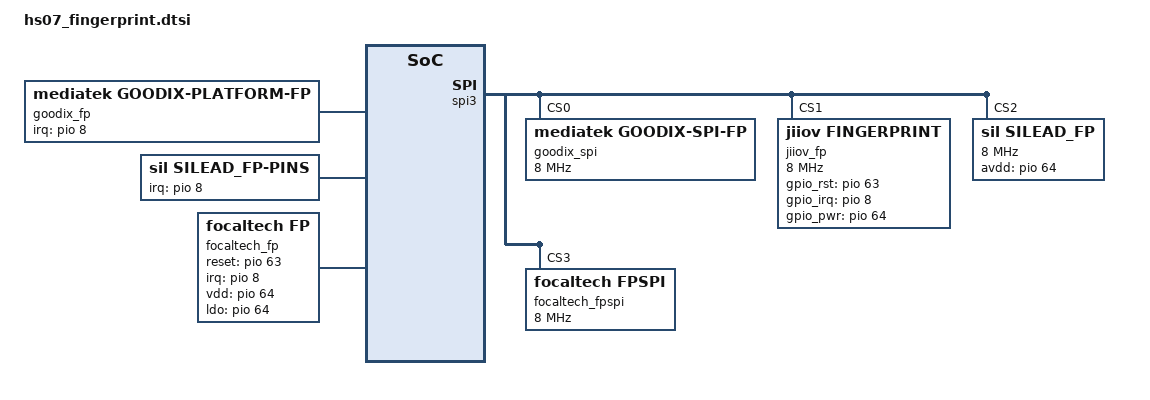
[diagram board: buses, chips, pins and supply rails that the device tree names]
/*HS07 code for SR-AL7761A-01-185|SR-AL7761A-01-518|SR-AL7761A-01-172 by hehaoran at 20250317 start*/
&spi3 {
    #address-cells = <1>;
    #size-cells = <0>;
    mediatek,pad-select = <0>;
    cs-gpios = <0>,<0>,<0>,<0>;
    status = "okay";

    goodix_spi@0 {
        compatible = "mediatek,goodix-spi-fp";
        reg = <0>;
        spi-max-frequency = <8000000>;
        status = "okay";
    };

    jiiov_fp@1 {
        compatible = "jiiov,fingerprint";
        reg = <1>;
        spi-max-frequency = <8000000>;
        anc,vdd_use_gpio;
        interrupt-parent = <&pio>;
        anc,gpio_rst = <&pio 63 0x00>;
        anc,gpio_irq = <&pio 8 0x00>;
        anc,gpio_pwr = <&pio 64 0x0>;
        status = "okay";
        pinctrl-names = "anc_reset_low", "anc_reset_high",
                    "anc_irq_default","fp_gpio_mode",
                    "fp_spi_mode";
        pinctrl-0 = <&anc_reset_low>;
        pinctrl-1 = <&anc_reset_high>;
        pinctrl-2 = <&anc_irq_default>;
        pinctrl-3 = <&fp_gpio_mode>;
        pinctrl-4 = <&fp_spi_mode>;
    };

    silead_fp@2 {
        compatible = "sil,silead_fp";
        reg = <2>;
        spi-id = <3>;
        spi-irq = <138>;
        spi-reg = <0x1100a000>;
        spi-max-frequency = <8000000>;
        avdd-gpio =<&pio 64 0x0>;
        status = "okay";
    };

    focaltech_fpspi@3 {
        compatible = "focaltech,fpspi";
        reg = <3>;
        spi-max-frequency = <8000000>;
        status = "okay";
    };
};
/*HS07 code for SR-AL7761A-01-185|SR-AL7761A-01-518|SR-AL7761A-01-172 by hehaoran at 20250317 end*/

&odm {
    /*HS07 code for SR-AL7761A-01-172|SR-AL7761A-01-184 by hehaoran at 20250325 start*/
    goodix_fp {
        status = "okay";
        compatible = "mediatek,goodix-platform-fp";
        interrupt-parent = <&pio>;
        interrupts = <8 IRQ_TYPE_EDGE_RISING>;
        gf,irq-gpio = <&pio 8 0>;
        pinctrl-names = "gf_default","gf_reset_high","gf_reset_low","gf_vdd_high","gf_vdd_low",
                    "fp_gpio_mode","fp_spi_mode","gf_irq_to_gpio";
        pinctrl-0 = <&gf_default>;
        pinctrl-1 = <&gf_reset_high>;
        pinctrl-2 = <&gf_reset_low>;
        pinctrl-3 = <&gf_vdd_high>;
        pinctrl-4 = <&gf_vdd_low>;
        pinctrl-5 = <&fp_gpio_mode>;
        pinctrl-6 = <&fp_spi_mode>;
        pinctrl-7 = <&gf_irq_to_gpio>;
    };
    /*HS07 code for SR-AL7761A-01-172|SR-AL7761A-01-184 by hehaoran at 20250325 end*/

    /*HS07 code for SR-AL7761A-01-518 by yuli at 20250315 start*/
    silead_fp {
        compatible = "sil,silead_fp-pins";
        interrupt-parent = <&pio>;
        interrupts = <8 IRQ_TYPE_EDGE_RISING 8 0>;

        pinctrl-names = "default", "rst-low", "rst-high" ,
        "irq-init", "fp_spi_mode", "irq_rst-low", "irq_rst-high",
        "avdd-enable", "avdd-disable","fp_gpio_mode";
        pinctrl-0 = <&silfp_default>;
        pinctrl-1 = <&silfp_rst_low>;
        pinctrl-2 = <&silfp_rst_high>;
        pinctrl-3 = <&silfp_irq>;
        pinctrl-4 = <&fp_spi_mode>;
        pinctrl-5 = <&silfp_irq_rst_low>;
        pinctrl-6 = <&silfp_irq_rst_high>;
        pinctrl-7 = <&silead_avdd_enable>;
        pinctrl-8 = <&silead_avdd_disable>;
        pinctrl-9 = <&fp_gpio_mode>;
        status = "okay";
    };
    /*HS07 code for SR-AL7761A-01-518 by yuli at 20250315 end*/

    focaltech_fp {
        compatible = "focaltech,fp";
        status = "okay";
        interrupt-parent = <&pio>;
        interrupts = <8 IRQ_TYPE_EDGE_RISING>;

        focaltech_fp,reset-gpio = <&pio 63 0>;
        focaltech_fp,irq-gpio = <&pio 8 0>;
        focaltech_fp,vdd-gpio = <&pio 64 0>;
        focaltech_fp,ldo-gpio = <&pio 64 0>;

        //focaltech_fp,power-always-on;
        //focaltech_fp,use-regulator;
        //ff_vdd-supply = <&mt_pmic_vfp_ldo_reg>;

        //focaltech_fp,ree;
        //focaltech_fp,no-screen-on-off;
        focaltech_fp,spiclk;

        focaltech_fp,use-pinctrl;
        pinctrl-names = "ff_pins_reset_low","ff_pins_reset_high",
                    "ff_pins_irq_as_int","ff_pins_power_low",
                    "ff_pins_power_high","fp_gpio_mode",
                    "fp_spi_mode";
        pinctrl-0 = <&fp_pins_rst_output0>;
        pinctrl-1 = <&fp_pins_rst_output1>;
        pinctrl-2 = <&fp_pins_eint>;
        pinctrl-3 = <&fp_pins_power_output0>;
        pinctrl-4 = <&fp_pins_power_output1>;
        pinctrl-5 = <&fp_gpio_mode>;
        pinctrl-6 = <&fp_spi_mode>;
    };
};

&pio {
    fp_spi_mode: fp_spi_mode {
        pins_cmd_dat {
            pinmux = <PINMUX_GPIO45__FUNC_SPI3_MI>,
            <PINMUX_GPIO44__FUNC_SPI3_MO>,
            <PINMUX_GPIO43__FUNC_SPI3_CSB>,
            <PINMUX_GPIO42__FUNC_SPI3_CLK>;
        };
    };
    fp_gpio_mode: fp_gpio_mode {
        pins_cmd_dat {
            pinmux = <PINMUX_GPIO45__FUNC_GPIO45>,
            <PINMUX_GPIO44__FUNC_GPIO44>,
            <PINMUX_GPIO43__FUNC_GPIO43>,
            <PINMUX_GPIO42__FUNC_GPIO42>;
        };
    };
};

/*HS07 code for SR-AL7761A-01-172|SR-AL7761A-01-184 by hehaoran at 20250325 start*/
&pio {
    gf_default: gf_default {
    };
    gf_reset_high: gf_reset_high {
        pins_cmd_dat {
            pinmux = <PINMUX_GPIO63__FUNC_GPIO63>;
            slew-rate = <1>;
            output-high;
        };
    };
    gf_reset_low: gf_reset_low {
        pins_cmd_dat {
            pinmux = <PINMUX_GPIO63__FUNC_GPIO63>;
            slew-rate = <1>;
            output-low;
        };
    };
    gf_vdd_high: gf_vdd_high {
        pins_cmd_dat {
            pinmux = <PINMUX_GPIO64__FUNC_GPIO64>;
            slew-rate = <1>;
            output-high;
        };
    };
    gf_vdd_low: gf_vdd_low {
        pins_cmd_dat {
            pinmux = <PINMUX_GPIO64__FUNC_GPIO64>;
            slew-rate = <1>;
            output-low;
        };
    };
    gf_irq_to_gpio: gf_irq_to_gpio {
        pins_cmd_dat {
            pinmux = <PINMUX_GPIO8__FUNC_GPIO8>;
            slew-rate = <1>;
            output-low;
        };
    };
};
/*HS07 code for SR-AL7761A-01-172|SR-AL7761A-01-184 by hehaoran at 20250325 end*/

/*HS07 code for SR-AL7761A-01-185 by hehaoran at 20250311 start*/
&pio {
    anc_reset_low: anc_reset_low {
        pins_cmd_dat {
            pinmux = <PINMUX_GPIO63__FUNC_GPIO63>;
            slew-rate = <1>;
            output-low;
        };
    };
    anc_reset_high: anc_reset_high {
        pins_cmd_dat {
            pinmux = <PINMUX_GPIO63__FUNC_GPIO63>;
            slew-rate = <1>;
            output-high;
        };
    };
    anc_irq_default: anc_irq_default {
        pins_cmd_dat {
            pinmux = <PINMUX_GPIO8__FUNC_GPIO8>;
            slew-rate = <0>;
            bias-pull-down;
            input-enable;
        };
    };
};
/*HS07 code for SR-AL7761A-01-185 by hehaoran at 20250311 end*/

/*HS07 code for SR-AL7761A-01-518 by yuli at 20250315 start*/
&pio {
    silfp_default: silfpdefault {
    };

    silfp_rst_high: state_reset_high {
        pins_cmd_dat {
            pinmux = <PINMUX_GPIO63__FUNC_GPIO63>;
            slew-rate = <1>;
            output-high;
        };
    };

    silfp_rst_low: state_reset_low {
        pins_cmd_dat {
            pinmux = <PINMUX_GPIO63__FUNC_GPIO63>;
            slew-rate = <1>;
            output-low;
        };
    };

    silfp_irq_rst_high: state_irq_to_reset_high {
        pins_cmd_dat {
            pinmux = <PINMUX_GPIO8__FUNC_GPIO8>;
            slew-rate = <1>;
            output-high;
        };
    };

    silfp_irq_rst_low: state_irq_to_reset_low {
        pins_cmd_dat {
            pinmux = <PINMUX_GPIO8__FUNC_GPIO8>;
            slew-rate = <1>;
            output-low;
        };
    };

    silfp_irq: fp_eint@8 {
        pins_cmd_dat {
            pinmux = <PINMUX_GPIO8__FUNC_GPIO8>;
            slew-rate = <0>;
            output-low;
        };
    };

    silead_avdd_enable: silead_avdd_enable {
        pins_cmd_dat {
            pinmux = <PINMUX_GPIO64__FUNC_GPIO64>;
            slew-rate = <1>;
            output-high;
        };
    };

    silead_avdd_disable: silead_avdd_disable {
        pins_cmd_dat {
            pinmux = <PINMUX_GPIO64__FUNC_GPIO64>;
            slew-rate = <1>;
            output-low;
        };
    };
};
/*HS07 code for SR-AL7761A-01-518 by yuli at 20250315 end*/

&pio {
    fp_pins_rst_output0: fprstout0 {
        pins_cmd_dat {
            pinmux = <PINMUX_GPIO63__FUNC_GPIO63>;
            output-low;
        };
    };
    fp_pins_rst_output1: fprstout1 {
        pins_cmd_dat {
            pinmux = <PINMUX_GPIO63__FUNC_GPIO63>;
            output-high;
        };
    };
    fp_pins_eint: fpeint {
        pins_cmd_dat {
            pinmux = <PINMUX_GPIO8__FUNC_GPIO8>;
            bias-disable;
            input-enable;
        };
    };
    fp_pins_power_output0: fppwrout0 {
        pins_cmd_dat {
            pinmux = <PINMUX_GPIO64__FUNC_GPIO64>;
            output-low;
        };
    };
    fp_pins_power_output1: fppwrout1 {
        pins_cmd_dat {
            pinmux = <PINMUX_GPIO64__FUNC_GPIO64>;
            output-high;
        };
    };
};
